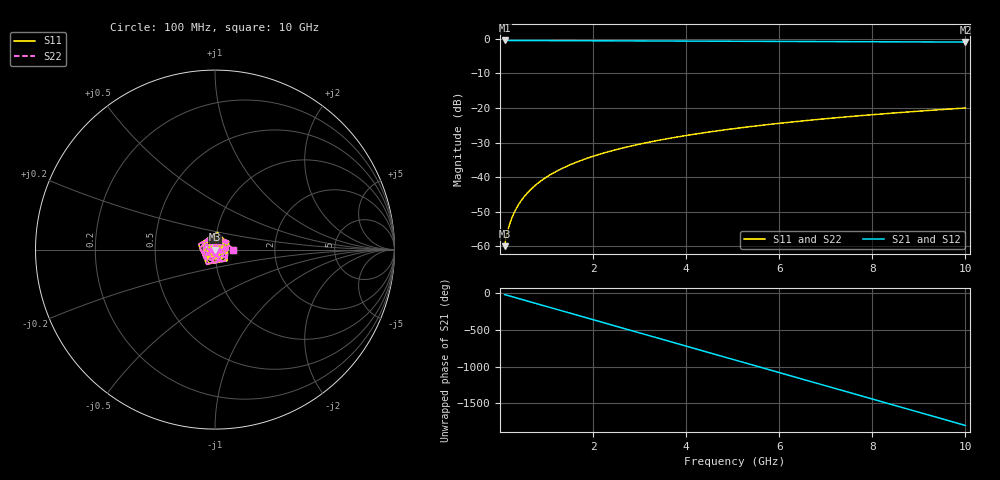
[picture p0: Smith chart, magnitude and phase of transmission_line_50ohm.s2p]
! 50 Ohm transmission line S-parameters
! Generated by TraceKit test data generator
# Hz S RI R 50
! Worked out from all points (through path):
!   201 points, 100 MHz to 10 GHz, reference 50 ohm
!   highest |S21| = -0.45 dB at 100 MHz (marker M1); lowest = -0.9 dB at 10 GHz (marker M2)
!   lowest |S11| = -60.0 dB at 100 MHz (marker M3), VSWR 1.00, Z = 50.1 - j0.0589 ohm
!   |S11| at or under -10 dB: start of sweep to end of sweep
!   |S22| runs from -60.0 to -20.0 dB; largest |S21 - S12| = 0
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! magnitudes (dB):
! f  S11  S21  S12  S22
! 100 MHz  -60.0  -0.5  -0.5  -60.0
! 134.9 MHz  -57.4  -0.5  -0.5  -57.4
! 173.8 MHz  -55.2  -0.5  -0.5  -55.2
! 218.8 MHz  -53.2  -0.5  -0.5  -53.2
! 275.4 MHz  -51.2  -0.5  -0.5  -51.2
! 338.8 MHz  -49.4  -0.5  -0.5  -49.4
! 416.9 MHz  -47.6  -0.5  -0.5  -47.6
! 501.2 MHz  -46.0  -0.5  -0.5  -46.0
! 588.8 MHz  -44.6  -0.5  -0.5  -44.6
! 812.8 MHz  -41.8  -0.5  -0.5  -41.8
! 1.072 GHz  -39.4  -0.5  -0.5  -39.4
! 1.38 GHz  -37.2  -0.5  -0.5  -37.2
! 1.778 GHz  -35.0  -0.5  -0.5  -35.0
! 2.138 GHz  -33.4  -0.5  -0.5  -33.4
! 2.512 GHz  -32.0  -0.6  -0.6  -32.0
! 2.951 GHz  -30.6  -0.6  -0.6  -30.6
! 3.467 GHz  -29.2  -0.6  -0.6  -29.2
! 4.266 GHz  -27.4  -0.6  -0.6  -27.4
! 5.129 GHz  -25.8  -0.7  -0.7  -25.8
! 6.761 GHz  -23.4  -0.8  -0.8  -23.4
! 8.511 GHz  -21.4  -0.8  -0.8  -21.4
! 10 GHz  -20.0  -0.9  -0.9  -20.0
